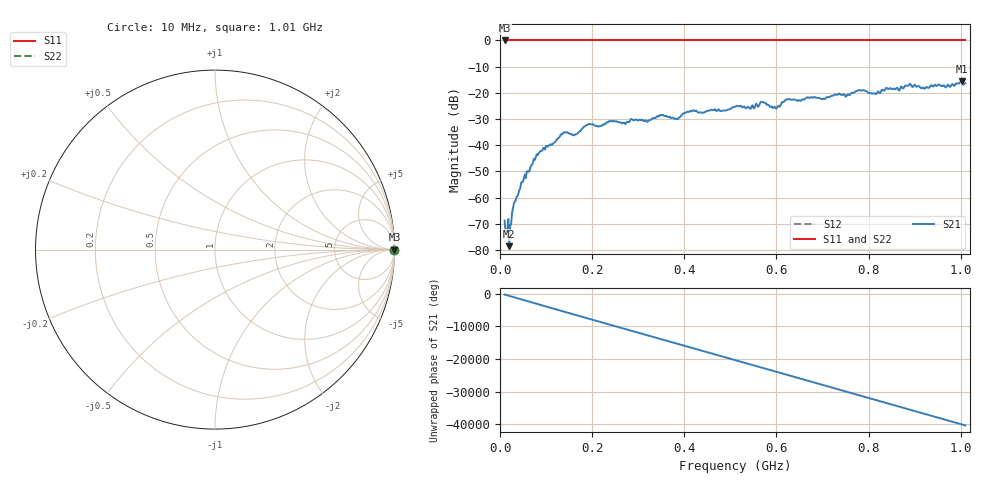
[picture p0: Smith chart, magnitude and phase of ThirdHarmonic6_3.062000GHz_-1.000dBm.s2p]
! 8/17/2025 8:55:38 AM
! C:\ANRITSUVNA\TEMP\TEMP.S2P
! CHANNEL.1
! TR.MEASUREMENT
! RAW.DATA
! RF.CORRECTION.OFF
! AVERAGING.OFF
! IF.BANDWIDTH: 5KHZ
! SWEEPTYPE:  FREQ.SWEEP(Linear)
! Reference Plane Port Info
! PORT:  PORT1  PORT2
! DISTANCE:  0  m  0  m
! TIME:  0  s  0  s
! PHASE.OFFSET:  0  deg.  0  deg.
! LOSS:  0  dB  0  dB
! REF.LOSS:  0  dB  0  dB
! REF.FREQ:  0  Hz  0  Hz
! Power Info
! POWER:  -20  dBm  -20  dBm
! EFF.POWER:  -20  dBm  -20  dBm
! SOURCE.ATTEN:  0  dB  0  dB
! TEST.ATTEN:  0  dB  0  dB
# GHZ S RI R 50.0
! FREQ.GHZ  S11RE  S11IM  S21RE  S21IM  S12RE  S12IM  S22RE  S22IM
!; PortSelection: Port_12
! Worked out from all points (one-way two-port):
!   501 points, 10 MHz to 1.01 GHz, reference 50 ohm
!   highest |S21| = -15.54 dB at 1.002 GHz (marker M1); lowest = -78.5 dB at 20 MHz (marker M2)
!   lowest |S11| = 0.0 dB at 10 MHz (marker M3)
!   |S11| at or under -10 dB: nowhere
!   |S22| runs from 0.0 to 0.0 dB; largest |S21 - S12| = 1.2
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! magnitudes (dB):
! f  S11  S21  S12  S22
! 10 MHz  0.0  -68.8  0.0  0.0
! 16 MHz  0.0  -73.0  0.0  0.0
! 20 MHz  0.0  -78.5  0.0  0.0
! 32 MHz  0.0  -61.5  0.0  0.0
! 50 MHz  0.0  -53.8  0.0  0.0
! 82 MHz  0.0  -43.7  0.0  0.0
! 136 MHz  0.0  -35.6  0.0  0.0
! 164 MHz  0.0  -35.8  0.0  0.0
! 178 MHz  0.0  -33.8  0.0  0.0
! 344 MHz  0.0  -29.0  0.0  0.0
! 382 MHz  0.0  -29.8  0.0  0.0
! 416 MHz  0.0  -27.1  0.0  0.0
! 510 MHz  0.0  -25.3  0.0  0.0
! 548 MHz  0.0  -24.7  0.0  0.0
! 570 MHz  0.0  -23.5  0.0  0.0
! 596 MHz  0.0  -25.3  0.0  0.0
! 624 MHz  0.0  -22.6  0.0  0.0
! 678 MHz  0.0  -21.8  0.0  0.0
! 814 MHz  0.0  -20.2  0.0  0.0
! 844 MHz  0.0  -18.6  0.0  0.0
! 1.002 GHz  0.0  -15.5  0.0  0.0
! 1.01 GHz  0.0  -16.3  0.0  0.0
